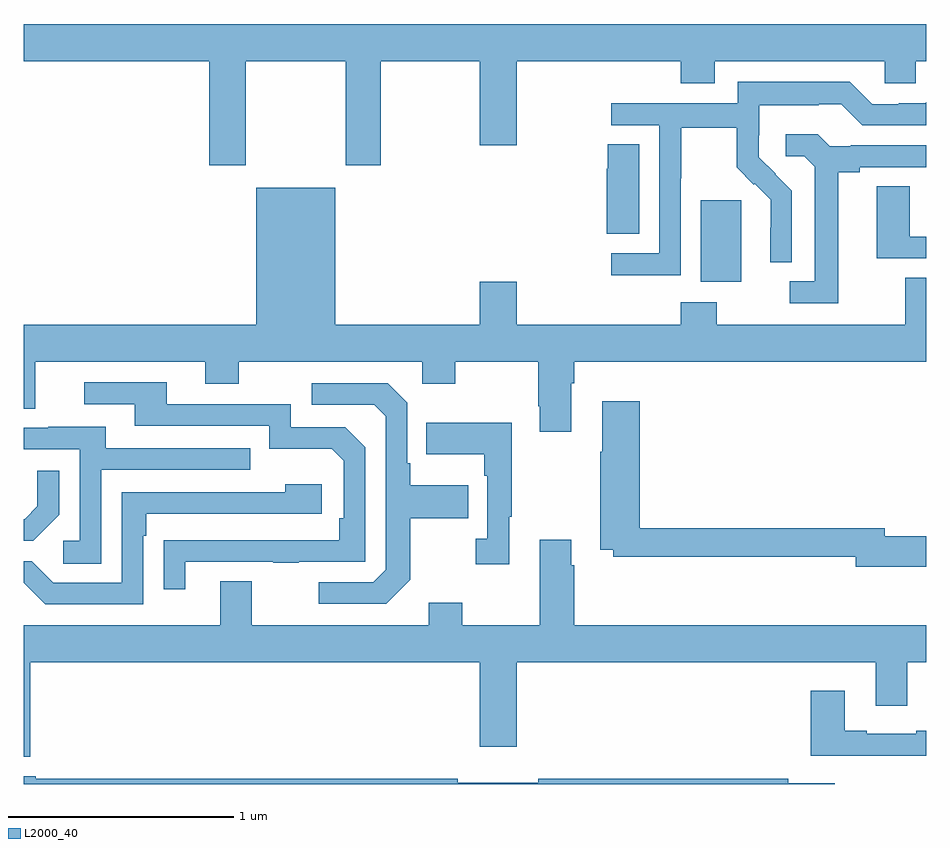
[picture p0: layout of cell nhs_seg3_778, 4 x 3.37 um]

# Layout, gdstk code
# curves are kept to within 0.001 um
import gdstk
lib = gdstk.Library(unit=1e-6, precision=1e-09)
def R(c, l, rs):  # rectangles x0, y0, x1, y1
    for r in rs: c.add(gdstk.rectangle(r[:2], r[2:], *l))
def P(c, l, *ps):  # polygons
    for p in ps: c.add(gdstk.Polygon(p, *l))
L2000_40 = (2000, 40)

nhs_seg3_778 = lib.new_cell('nhs_seg3_778')
R(nhs_seg3_778, L2000_40, [(154.001,678.626,154.18,678.987)])
P(nhs_seg3_778, L2000_40, [(151.983,679.604),(152.428,679.604),(152.428,679.143),(152.583,679.143),(152.583,679.604),(153.02,679.604),(153.02,679.23),(153.184,679.23),(153.184,679.604),(153.911,679.604),(153.911,679.505),(154.063,679.505),(154.063,679.604),(154.815,679.604),(154.815,679.506),(154.953,679.506),(154.953,679.604),(155,679.604),(155,679.768),(151,679.768),(151,679.604),(151.823,679.604),(151.823,679.143),(151.983,679.143)],
  [(153.912,679.084),(153.915,679.084),(153.915,679.308),(154.159,679.308),(154.159,679.133),(154.236,679.056),(154.239,679.059),(154.31,678.989),(154.31,678.866),(154.308,678.866),(154.308,678.712),(154.404,678.712),(154.404,679.03),(154.258,679.178),(154.258,679.275),(154.26,679.275),(154.26,679.409),(154.523,679.409),(154.523,679.413),(154.623,679.413),(154.716,679.32),(155,679.32),(155,679.421),(154.995,679.416),(154.877,679.416),(154.877,679.413),(154.761,679.413),(154.661,679.513),(154.164,679.513),(154.164,679.416),(153.603,679.416),(153.603,679.32),(153.816,679.32),(153.816,678.753),(153.603,678.753),(153.603,678.655),(153.912,678.655)],
  [(154.609,679.112),(154.705,679.112),(154.705,679.134),(155,679.134),(155,679.23),(154.666,679.23),(154.666,679.227),(154.572,679.227),(154.52,679.279),(154.377,679.279),(154.377,679.182),(154.458,679.182),(154.505,679.135),(154.505,678.627),(154.395,678.627),(154.395,678.531),(154.609,678.531)],
  [(153.727,679.235),(153.589,679.235),(153.589,679.127),(153.584,679.127),(153.584,678.838),(153.727,678.838)],
  [(155,678.825),(154.926,678.825),(154.926,679.049),(154.781,679.049),(154.781,678.729),(155,678.729)],
  [(153.427,678.176),(153.44,678.176),(153.44,678.272),(155,678.272),(155,678.644),(154.907,678.644),(154.907,678.436),(154.071,678.436),(154.071,678.535),(153.911,678.535),(153.911,678.436),(153.184,678.436),(153.184,678.625),(153.02,678.625),(153.02,678.436),(152.38,678.436),(152.38,679.042),(152.03,679.042),(152.03,678.436),(151,678.436),(151,678.064),(151.051,678.064),(151.051,678.272),(151.805,678.272),(151.805,678.173),(151.953,678.173),(151.953,678.272),(152.766,678.272),(152.766,678.173),(152.913,678.173),(152.913,678.272),(153.28,678.272),(153.28,678.073),(153.287,678.073),(153.287,677.961),(153.427,677.961)],
  [(151.717,677.385),(152.107,677.385),(152.107,677.38),(152.219,677.38),(152.219,677.385),(152.514,677.385),(152.514,677.892),(152.424,677.982),(152.184,677.982),(152.184,678.084),(151.633,678.084),(151.633,678.18),(151.269,678.18),(151.269,678.084),(151.493,678.084),(151.493,677.988),(152.088,677.988),(152.088,677.885),(152.365,677.885),(152.418,677.832),(152.418,677.578),(152.398,677.578),(152.398,677.481),(151.621,677.48),(151.621,677.262),(151.717,677.262)],
  [(152.713,677.305),(152.713,677.578),(152.969,677.578),(152.969,677.725),(152.713,677.725),(152.713,677.821),(152.7,677.821),(152.7,678.09),(152.613,678.177),(152.277,678.177),(152.277,678.081),(152.553,678.081),(152.604,678.03),(152.604,677.349),(152.55,677.295),(152.307,677.295),(152.307,677.199),(152.607,677.199)],
  [(155,677.498),(154.816,677.498),(154.816,677.534),(153.731,677.534),(153.731,678.097),(153.563,678.097),(153.563,677.873),(153.556,677.873),(153.556,677.438),(153.612,677.438),(153.612,677.406),(154.688,677.406),(154.688,677.363),(155,677.363)],
  [(153.151,677.585),(153.163,677.585),(153.163,678.001),(152.785,678.001),(152.785,677.861),(153.042,677.861),(153.042,677.765),(153.054,677.765),(153.054,677.486),(153.003,677.486),(153.003,677.373),(153.151,677.373)],
  [(151.344,677.793),(152.003,677.793),(152.003,677.889),(151.363,677.889),(151.363,677.983),(151.109,677.983),(151.109,677.979),(151,677.979),(151,677.883),(151.248,677.883),(151.248,677.478),(151.176,677.478),(151.176,677.377),(151.344,677.377)],
  [(151.158,677.594),(151.158,677.788),(151.061,677.788),(151.061,677.631),(151.004,677.574),(151,677.574),(151,677.478),(151.042,677.478)],
  [(151.53,677.501),(151.543,677.501),(151.543,677.598),(152.32,677.598),(152.32,677.728),(152.159,677.728),(152.159,677.694),(151.434,677.694),(151.434,677.292),(151.131,677.292),(151.035,677.388),(151,677.388),(151,677.291),(151.095,677.196),(151.53,677.196)],
  [(151.028,676.94),(153.02,676.94),(153.02,676.566),(153.184,676.566),(153.184,676.94),(154.775,676.94),(154.775,676.746),(154.915,676.746),(154.915,676.94),(155,676.94),(155,677.104),(153.44,677.104),(153.44,677.369),(153.427,677.369),(153.427,677.482),(153.287,677.482),(153.287,677.104),(152.943,677.104),(152.943,677.203),(152.795,677.203),(152.795,677.104),(152.011,677.104),(152.011,677.299),(151.871,677.299),(151.871,677.104),(151,677.104),(151,676.52),(151.028,676.52)],
  [(155,676.636),(154.955,676.636),(154.955,676.623),(154.735,676.623),(154.735,676.636),(154.639,676.636),(154.639,676.813),(154.487,676.813),(154.487,676.526),(155,676.526)],
  [(154.594,676.404),(154.388,676.404),(154.388,676.424),(153.28,676.424),(153.28,676.405),(152.924,676.405),(152.924,676.424),(151.054,676.424),(151.054,676.435),(151,676.435),(151,676.4),(154.594,676.4)])

lib.write_gds('nhs_seg3_778.gds')
